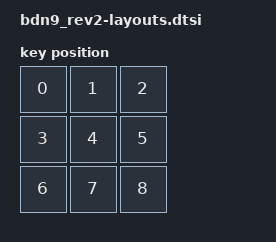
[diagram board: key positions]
#include <physical_layouts.dtsi>

/{
    default_layout: physical_layout {
        compatible = "zmk,physical-layout";
        display-name = "BDN9";

        transform = <&matrix_transform>;
        kscan = <&kscan>;

        keys  //                     w   h    x    y     rot    rx    ry
            = <&key_physical_attrs 100 100    0    0       0     0     0>
            , <&key_physical_attrs 100 100  100    0       0     0     0>
            , <&key_physical_attrs 100 100  200    0       0     0     0>
            , <&key_physical_attrs 100 100    0  100       0     0     0>
            , <&key_physical_attrs 100 100  100  100       0     0     0>
            , <&key_physical_attrs 100 100  200  100       0     0     0>
            , <&key_physical_attrs 100 100    0  200       0     0     0>
            , <&key_physical_attrs 100 100  100  200       0     0     0>
            , <&key_physical_attrs 100 100  200  200       0     0     0>
            ;
    };
};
